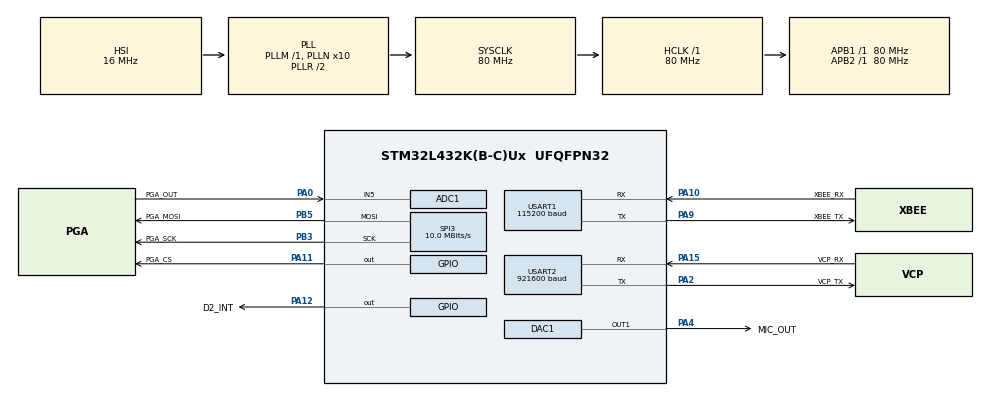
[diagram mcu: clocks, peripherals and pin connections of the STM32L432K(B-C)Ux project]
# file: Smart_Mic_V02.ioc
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ADC1.Channel-0\#ChannelRegularConversion=ADC_CHANNEL_5
ADC1.ContinuousConvMode=ENABLE
ADC1.NbrOfConversionFlag=1
ADC1.OffsetNumber-0\#ChannelRegularConversion=ADC_OFFSET_NONE
ADC1.Overrun=ADC_OVR_DATA_OVERWRITTEN
ADC1.Rank-0\#ChannelRegularConversion=1
ADC1.SamplingTime-0\#ChannelRegularConversion=ADC_SAMPLETIME_24CYCLES_5
ADC1.master=1
Mcu.Family=STM32L4
Mcu.Name=STM32L432K(B-C)Ux
Mcu.Package=UFQFPN32
NVIC.PriorityGroup=NVIC_PRIORITYGROUP_4
NVIC.USART1_IRQn=true\:5\:0\:true\:true\:true\:1\:true\:true
NVIC.USART2_IRQn=true\:5\:0\:true\:true\:true\:2\:true\:true
PA0.GPIO_Label=PGA_OUT
PA0.Signal=ADCx_IN5
PA10.GPIO_Label=XBEE_RX
PA10.Mode=Asynchronous
PA10.Signal=USART1_RX
PA11.GPIO_Label=PGA_CS
PA11.Signal=GPIO_Output
PA12.GPIO_Label=D2_INT
PA12.Signal=GPIO_Output
PA13\ (JTMS-SWDIO).GPIO_Label=SWDIO
PA13\ (JTMS-SWDIO).Mode=Serial_Wire
PA13\ (JTMS-SWDIO).Signal=SYS_JTMS-SWDIO
PA14\ (JTCK-SWCLK).GPIO_Label=SWCLK
PA14\ (JTCK-SWCLK).Mode=Serial_Wire
PA14\ (JTCK-SWCLK).Signal=SYS_JTCK-SWCLK
PA15\ (JTDI).GPIO_Label=VCP_RX
PA15\ (JTDI).Mode=Asynchronous
PA15\ (JTDI).Signal=USART2_RX
PA2.GPIO_Label=VCP_TX
PA2.Mode=Asynchronous
PA2.Signal=USART2_TX
PA4.GPIO_Label=MIC_OUT
PA4.Signal=COMP_DAC11_group
PA9.GPIO_Label=XBEE_TX
PA9.Mode=Asynchronous
PA9.Signal=USART1_TX
PB3\ (JTDO-TRACESWO).GPIO_Label=PGA_SCK
PB3\ (JTDO-TRACESWO).Mode=TX_Only_Simplex_Unidirect_Master
PB3\ (JTDO-TRACESWO).Signal=SPI3_SCK
PB5.GPIO_Label=PGA_MOSI
PB5.Mode=TX_Only_Simplex_Unidirect_Master
PB5.Signal=SPI3_MOSI
PC14-OSC32_IN\ (PC14).Mode=LSE-External-Oscillator
PC14-OSC32_IN\ (PC14).Signal=RCC_OSC32_IN
PC15-OSC32_OUT\ (PC15).Mode=LSE-External-Oscillator
PC15-OSC32_OUT\ (PC15).Signal=RCC_OSC32_OUT
ProjectManager.HeapSize=0x200
ProjectManager.StackSize=0x400
ProjectManager.TargetToolchain=STM32CubeIDE
RCC.ADCFreq_Value=64000000
RCC.AHBFreq_Value=80000000
RCC.APB1Freq_Value=80000000
RCC.APB1TimFreq_Value=80000000
RCC.APB2Freq_Value=80000000
RCC.APB2TimFreq_Value=80000000
RCC.CortexFreq_Value=80000000
RCC.HCLKFreq_Value=80000000
RCC.HSE_VALUE=8000000
RCC.HSI16_VALUE=16000000
RCC.HSI48_VALUE=48000000
RCC.HSI_VALUE=16000000
RCC.MSI_VALUE=4000000
RCC.PLLMUL=RCC_PLLMUL_4
RCC.PLLN=10
RCC.PLLSourceVirtual=RCC_PLLSOURCE_HSI
RCC.SYSCLKFreq_VALUE=80000000
RCC.SYSCLKSource=RCC_SYSCLKSOURCE_PLLCLK
RCC.USBFreq_Value=64000000
RCC.VCOOutputFreq_Value=160000000
SH.ADCx_IN5.0=ADC1_IN5,IN5-Single-Ended
SH.COMP_DAC11_group.0=DAC1_OUT1,DAC_OUT1
SPI3.BaudRatePrescaler=SPI_BAUDRATEPRESCALER_8
SPI3.CalculateBaudRate=10.0 MBits/s
SPI3.DataSize=SPI_DATASIZE_16BIT
SPI3.Direction=SPI_DIRECTION_2LINES
SPI3.Mode=SPI_MODE_MASTER
SPI3.VirtualType=VM_MASTER
USART1.BaudRate=115200
USART1.VirtualMode-Asynchronous=VM_ASYNC
USART2.BaudRate=921600
USART2.VirtualMode-Asynchronous=VM_ASYNC
board=NUCLEO-L432KC

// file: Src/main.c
/* USER CODE BEGIN Header */
/**
  ******************************************************************************
  * @file           : main.c
  * @brief          : Main program body
  ******************************************************************************
  * @attention
  *
  * <h2><center>&copy; Copyright (c) 2019 STMicroelectronics.
  * All rights reserved.</center></h2>
  *
  * This software component is licensed by ST under BSD 3-Clause license,
  * the "License"; You may not use this file except in compliance with the
  * License. You may obtain a copy of the License at:
  *                        opensource.org/licenses/BSD-3-Clause
  *
  ******************************************************************************
  */
/* USER CODE END Header */

#include "main.h"

/* USER CODE BEGIN Includes */
#include "stm32l4xx_hal.h"
#include <stdio.h>  /* sprintf */
#include <string.h>	/* strlen */
#include <stdlib.h> /* atoi  */
#include "application.h"
#include "jsmn.h"

//#include "eeprom.h"
/* USER CODE END Includes */

ADC_HandleTypeDef hadc1;

DAC_HandleTypeDef hdac1;

SPI_HandleTypeDef hspi3;

UART_HandleTypeDef huart1;
UART_HandleTypeDef huart2;

/* USER CODE BEGIN PV */
// Dac Register for direct method of setting DAC value`s
__IO uint32_t Dac1_Reg = 0;
uint32_t ADCValueIn = 0;
/* USER CODE END PV */

void SystemClock_Config(void);
static void MX_GPIO_Init(void);
static void MX_ADC1_Init(void);
static void MX_DAC1_Init(void);
static void MX_SPI3_Init(void);
static void MX_USART1_UART_Init(void);
static void MX_USART2_UART_Init(void);
static void MX_NVIC_Init(void);

int main(void)
{

  /* MCU Configuration--------------------------------------------------------*/

  /* Reset of all peripherals, Initializes the Flash interface and the Systick. */
  HAL_Init();

  /* Configure the system clock */
  SystemClock_Config();

  /* Initialize all configured peripherals */
  MX_GPIO_Init();
  MX_ADC1_Init();
  MX_DAC1_Init();
  MX_SPI3_Init();
  MX_USART1_UART_Init();
  MX_USART2_UART_Init();

  /* Initialize interrupts */
  MX_NVIC_Init();
  /* USER CODE BEGIN 2 */
	setup_init();
//	EE_setup_init();
	initPacket();
	//	// update PGA Settings
	writePGA(pgaGain , pgaChannel);
  /* USER CODE END 2 */

  /* Infinite loop */
  while (1)
  {

    /* USER CODE BEGIN 3 */
		// check if UART data available
		if (UartReady == SET) {
			UartReady = RESET;
			// In the future add swap buffer and reset UART receive interrupt.
			for (int ii = 0 ; ii< sizeof(aRxBuffer) ; ii++){
				uint8_t inChar = aRxBuffer[ii];
				//aTxBuffer[0] = inChar;
				//HAL_UART_Transmit(&huart2, (uint8_t*) inChar,1, 5000);  // send back char
				// pass char to packet builder
				serialEvent(inChar);
			}

			// Re-initialize UART in interrupt mode
#ifdef WIRELESS
			HAL_UART_Receive_IT(&huart1, (uint8_t *) aRxBuffer, sizeof(aRxBuffer));
#else
			HAL_UART_Receive_IT(&huart2, (uint8_t *) aRxBuffer, sizeof(aRxBuffer));
#endif
		} // end UartReady

		// read adc value
		ADCValueIn = hadc1.Instance->DR;

//		ADCValueIn = HAL_ADC_GetValue(&hadc1);
//		char aTxBuffer[10] = {};
//		sprintf(aTxBuffer , "%d\r\n" , (int)ADCValueIn);
//		HAL_UART_Transmit(&huart2, (uint8_t*)aTxBuffer, strlen(aTxBuffer), 5000);

		// move buffer index
		buffADC_index++;
		// roll over
		if (buffADC_index == ADC_BUFFER_SIZE)
			buffADC_index = 0;

		// add to circular buffer
		buffADC[buffADC_index] = ADCValueIn;

		// push oldest value to dac (adcLatency)
		buffOut_index = (buffADC_index + (ADC_BUFFER_SIZE - adcLatency)) % (ADC_BUFFER_SIZE);
		*(__IO uint32_t *) Dac1_Reg = buffADC[buffOut_index];

		// very simple threshold detection
		if (ADCValueIn > sigThresh) {
			D2_INT_GPIO_Port->BSRR = D2_INT_Pin;
			// reset keep on
			threshOn = threshOnSet;

		} else if (threshOn) {
			threshOn--;
#ifdef PLAYBACK_MSG
			if ((threshOn == 0) && (recordState)){
				sendBuffOut();
			}
#endif
		} else {
			D2_INT_GPIO_Port->BRR = D2_INT_Pin;
		}
  }
  /* USER CODE END 3 */
}

void SystemClock_Config(void)
{
  RCC_OscInitTypeDef RCC_OscInitStruct = {0};
  RCC_ClkInitTypeDef RCC_ClkInitStruct = {0};
  RCC_PeriphCLKInitTypeDef PeriphClkInit = {0};

  /** Initializes the CPU, AHB and APB busses clocks
  */
  RCC_OscInitStruct.OscillatorType = RCC_OSCILLATORTYPE_HSI;
  RCC_OscInitStruct.HSIState = RCC_HSI_ON;
  RCC_OscInitStruct.HSICalibrationValue = RCC_HSICALIBRATION_DEFAULT;
  RCC_OscInitStruct.PLL.PLLState = RCC_PLL_ON;
  RCC_OscInitStruct.PLL.PLLSource = RCC_PLLSOURCE_HSI;
  RCC_OscInitStruct.PLL.PLLM = 1;
  RCC_OscInitStruct.PLL.PLLN = 10;
  RCC_OscInitStruct.PLL.PLLP = RCC_PLLP_DIV7;
  RCC_OscInitStruct.PLL.PLLQ = RCC_PLLQ_DIV2;
  RCC_OscInitStruct.PLL.PLLR = RCC_PLLR_DIV2;
  if (HAL_RCC_OscConfig(&RCC_OscInitStruct) != HAL_OK)
  {
    Error_Handler();
  }
  /** Initializes the CPU, AHB and APB busses clocks
  */
  RCC_ClkInitStruct.ClockType = RCC_CLOCKTYPE_HCLK|RCC_CLOCKTYPE_SYSCLK
                              |RCC_CLOCKTYPE_PCLK1|RCC_CLOCKTYPE_PCLK2;
  RCC_ClkInitStruct.SYSCLKSource = RCC_SYSCLKSOURCE_PLLCLK;
  RCC_ClkInitStruct.AHBCLKDivider = RCC_SYSCLK_DIV1;
  RCC_ClkInitStruct.APB1CLKDivider = RCC_HCLK_DIV1;
  RCC_ClkInitStruct.APB2CLKDivider = RCC_HCLK_DIV1;

  if (HAL_RCC_ClockConfig(&RCC_ClkInitStruct, FLASH_LATENCY_4) != HAL_OK)
  {
    Error_Handler();
  }
  PeriphClkInit.PeriphClockSelection = RCC_PERIPHCLK_USART1|RCC_PERIPHCLK_USART2
                              |RCC_PERIPHCLK_ADC;
  PeriphClkInit.Usart1ClockSelection = RCC_USART1CLKSOURCE_PCLK2;
  PeriphClkInit.Usart2ClockSelection = RCC_USART2CLKSOURCE_PCLK1;
  PeriphClkInit.AdcClockSelection = RCC_ADCCLKSOURCE_PLLSAI1;
  PeriphClkInit.PLLSAI1.PLLSAI1Source = RCC_PLLSOURCE_HSI;
  PeriphClkInit.PLLSAI1.PLLSAI1M = 1;
  PeriphClkInit.PLLSAI1.PLLSAI1N = 8;
  PeriphClkInit.PLLSAI1.PLLSAI1P = RCC_PLLP_DIV7;
  PeriphClkInit.PLLSAI1.PLLSAI1Q = RCC_PLLQ_DIV2;
  PeriphClkInit.PLLSAI1.PLLSAI1R = RCC_PLLR_DIV2;
  PeriphClkInit.PLLSAI1.PLLSAI1ClockOut = RCC_PLLSAI1_ADC1CLK;
  if (HAL_RCCEx_PeriphCLKConfig(&PeriphClkInit) != HAL_OK)
  {
    Error_Handler();
  }
  /** Configure the main internal regulator output voltage
  */
  if (HAL_PWREx_ControlVoltageScaling(PWR_REGULATOR_VOLTAGE_SCALE1) != HAL_OK)
  {
    Error_Handler();
  }
}

/**
  * @brief NVIC Configuration.
  * @retval None
  */
static void MX_NVIC_Init(void)
{
  /* USART1_IRQn interrupt configuration */
  HAL_NVIC_SetPriority(USART1_IRQn, 5, 0);
  HAL_NVIC_EnableIRQ(USART1_IRQn);
  /* USART2_IRQn interrupt configuration */
  HAL_NVIC_SetPriority(USART2_IRQn, 5, 0);
  HAL_NVIC_EnableIRQ(USART2_IRQn);
}

static void MX_ADC1_Init(void)
{

  ADC_ChannelConfTypeDef sConfig = {0};

  /** Common config
  */
  hadc1.Instance = ADC1;
  hadc1.Init.ClockPrescaler = ADC_CLOCK_ASYNC_DIV1;
  hadc1.Init.Resolution = ADC_RESOLUTION_12B;
  hadc1.Init.DataAlign = ADC_DATAALIGN_RIGHT;
  hadc1.Init.ScanConvMode = ADC_SCAN_DISABLE;
  hadc1.Init.EOCSelection = ADC_EOC_SINGLE_CONV;
  hadc1.Init.LowPowerAutoWait = DISABLE;
  hadc1.Init.ContinuousConvMode = ENABLE;
  hadc1.Init.NbrOfConversion = 1;
  hadc1.Init.DiscontinuousConvMode = DISABLE;
  hadc1.Init.ExternalTrigConv = ADC_SOFTWARE_START;
  hadc1.Init.ExternalTrigConvEdge = ADC_EXTERNALTRIGCONVEDGE_NONE;
  hadc1.Init.DMAContinuousRequests = DISABLE;
  hadc1.Init.Overrun = ADC_OVR_DATA_OVERWRITTEN;
  hadc1.Init.OversamplingMode = DISABLE;
  if (HAL_ADC_Init(&hadc1) != HAL_OK)
  {
    Error_Handler();
  }
  /** Configure Regular Channel
  */
  sConfig.Channel = ADC_CHANNEL_5;
  sConfig.Rank = ADC_REGULAR_RANK_1;
  sConfig.SamplingTime = ADC_SAMPLETIME_24CYCLES_5;
  sConfig.SingleDiff = ADC_SINGLE_ENDED;
  sConfig.OffsetNumber = ADC_OFFSET_NONE;
  sConfig.Offset = 0;
  if (HAL_ADC_ConfigChannel(&hadc1, &sConfig) != HAL_OK)
  {
    Error_Handler();
  }

}

static void MX_DAC1_Init(void)
{

  DAC_ChannelConfTypeDef sConfig = {0};

  /** DAC Initialization
  */
  hdac1.Instance = DAC1;
  if (HAL_DAC_Init(&hdac1) != HAL_OK)
  {
    Error_Handler();
  }
  /** DAC channel OUT1 config
  */
  sConfig.DAC_SampleAndHold = DAC_SAMPLEANDHOLD_DISABLE;
  sConfig.DAC_Trigger = DAC_TRIGGER_NONE;
  sConfig.DAC_OutputBuffer = DAC_OUTPUTBUFFER_ENABLE;
  sConfig.DAC_ConnectOnChipPeripheral = DAC_CHIPCONNECT_DISABLE;
  sConfig.DAC_UserTrimming = DAC_TRIMMING_FACTORY;
  if (HAL_DAC_ConfigChannel(&hdac1, &sConfig, DAC_CHANNEL_1) != HAL_OK)
  {
    Error_Handler();
  }

}

static void MX_SPI3_Init(void)
{

  /* SPI3 parameter configuration*/
  hspi3.Instance = SPI3;
  hspi3.Init.Mode = SPI_MODE_MASTER;
  hspi3.Init.Direction = SPI_DIRECTION_2LINES;
  hspi3.Init.DataSize = SPI_DATASIZE_16BIT;
  hspi3.Init.CLKPolarity = SPI_POLARITY_LOW;
  hspi3.Init.CLKPhase = SPI_PHASE_1EDGE;
  hspi3.Init.NSS = SPI_NSS_SOFT;
  hspi3.Init.BaudRatePrescaler = SPI_BAUDRATEPRESCALER_8;
  hspi3.Init.FirstBit = SPI_FIRSTBIT_MSB;
  hspi3.Init.TIMode = SPI_TIMODE_DISABLE;
  hspi3.Init.CRCCalculation = SPI_CRCCALCULATION_DISABLE;
  hspi3.Init.CRCPolynomial = 7;
  hspi3.Init.CRCLength = SPI_CRC_LENGTH_DATASIZE;
  hspi3.Init.NSSPMode = SPI_NSS_PULSE_ENABLE;
  if (HAL_SPI_Init(&hspi3) != HAL_OK)
  {
    Error_Handler();
  }

}

static void MX_USART1_UART_Init(void)
{

  huart1.Instance = USART1;
  huart1.Init.BaudRate = 115200;
  huart1.Init.WordLength = UART_WORDLENGTH_8B;
  huart1.Init.StopBits = UART_STOPBITS_1;
  huart1.Init.Parity = UART_PARITY_NONE;
  huart1.Init.Mode = UART_MODE_TX_RX;
  huart1.Init.HwFlowCtl = UART_HWCONTROL_NONE;
  huart1.Init.OverSampling = UART_OVERSAMPLING_16;
  huart1.Init.OneBitSampling = UART_ONE_BIT_SAMPLE_DISABLE;
  huart1.AdvancedInit.AdvFeatureInit = UART_ADVFEATURE_NO_INIT;
  if (HAL_UART_Init(&huart1) != HAL_OK)
  {
    Error_Handler();
  }

}

static void MX_USART2_UART_Init(void)
{

  huart2.Instance = USART2;
  huart2.Init.BaudRate = 921600;
  huart2.Init.WordLength = UART_WORDLENGTH_8B;
  huart2.Init.StopBits = UART_STOPBITS_1;
  huart2.Init.Parity = UART_PARITY_NONE;
  huart2.Init.Mode = UART_MODE_TX_RX;
  huart2.Init.HwFlowCtl = UART_HWCONTROL_NONE;
  huart2.Init.OverSampling = UART_OVERSAMPLING_16;
  huart2.Init.OneBitSampling = UART_ONE_BIT_SAMPLE_DISABLE;
  huart2.AdvancedInit.AdvFeatureInit = UART_ADVFEATURE_NO_INIT;
  if (HAL_UART_Init(&huart2) != HAL_OK)
  {
    Error_Handler();
  }

}

static void MX_GPIO_Init(void)
{
  GPIO_InitTypeDef GPIO_InitStruct = {0};

  /* GPIO Ports Clock Enable */
  __HAL_RCC_GPIOC_CLK_ENABLE();
  __HAL_RCC_GPIOA_CLK_ENABLE();
  __HAL_RCC_GPIOB_CLK_ENABLE();

  /*Configure GPIO pin Output Level */
  HAL_GPIO_WritePin(GPIOA, PGA_CS_Pin|D2_INT_Pin, GPIO_PIN_RESET);

  /*Configure GPIO pins : PGA_CS_Pin D2_INT_Pin */
  GPIO_InitStruct.Pin = PGA_CS_Pin|D2_INT_Pin;
  GPIO_InitStruct.Mode = GPIO_MODE_OUTPUT_PP;
  GPIO_InitStruct.Pull = GPIO_NOPULL;
  GPIO_InitStruct.Speed = GPIO_SPEED_FREQ_LOW;
  HAL_GPIO_Init(GPIOA, &GPIO_InitStruct);

}

void Error_Handler(void)
{
}

/************************ (C) COPYRIGHT STMicroelectronics *****END OF FILE****/
